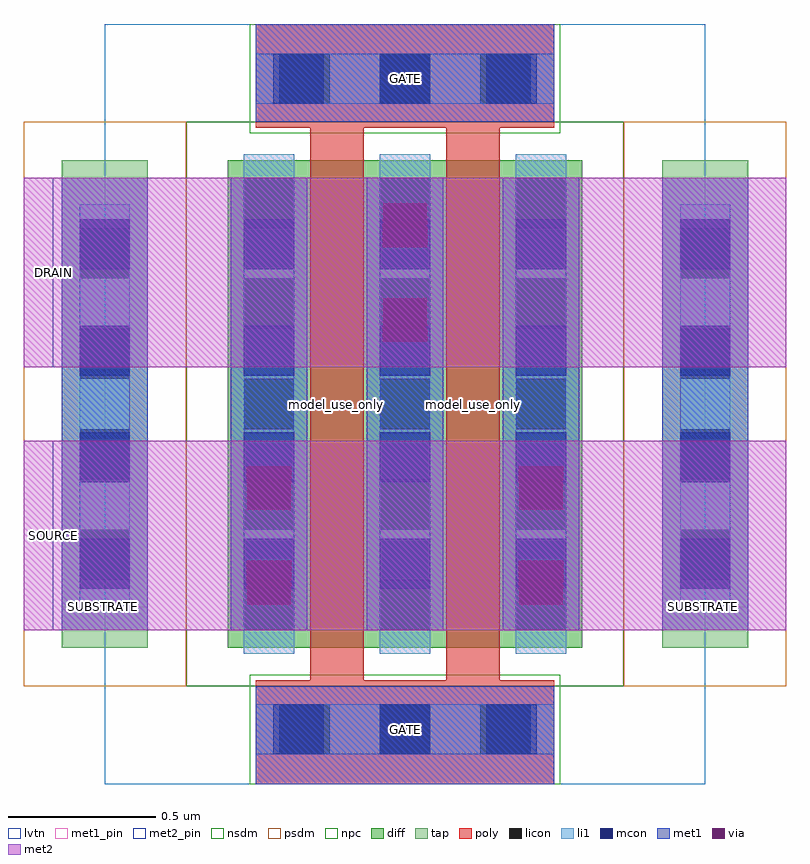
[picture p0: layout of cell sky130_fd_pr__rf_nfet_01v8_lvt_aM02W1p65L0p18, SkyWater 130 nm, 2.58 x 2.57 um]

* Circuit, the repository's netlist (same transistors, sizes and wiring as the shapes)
* Copyright 2020 The SkyWater PDK Authors
*
* Licensed under the Apache License, Version 2.0 (the "License");
* you may not use this file except in compliance with the License.
* You may obtain a copy of the License at
*
*     https://www.apache.org/licenses/LICENSE-2.0
*
* Unless required by applicable law or agreed to in writing, software
* distributed under the License is distributed on an "AS IS" BASIS,
* WITHOUT WARRANTIES OR CONDITIONS OF ANY KIND, either express or implied.
* See the License for the specific language governing permissions and
* limitations under the License.
*
* SPDX-License-Identifier: Apache-2.0


.subckt sky130_fd_pr__rf_nfet_01v8_lvt_aM02W1p65L0p18 DRAIN GATE SOURCE SUBSTRATE
X0 DRAIN GATE SOURCE SUBSTRATE sky130_fd_pr__nfet_01v8_lvt w=1.65e+06u l=180000u
X1 SOURCE GATE DRAIN SUBSTRATE sky130_fd_pr__nfet_01v8_lvt w=1.65e+06u l=180000u
.ends

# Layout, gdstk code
import gdstk
lib = gdstk.Library(unit=1e-6, precision=1e-09)
def R(c, l, rs):  # rectangles x0, y0, x1, y1
    for r in rs: c.add(gdstk.rectangle(r[:2], r[2:], *l))
def A(c, l, x, y, w, h, nx, ny, dx, dy):  # array of equal rectangles
    R(c, l, [(x+i*dx, y+j*dy, x+i*dx+w, y+j*dy+h) for i in range(nx) for j in range(ny)])
diff = (65, 20)
tap = (65, 44)
poly = (66, 20)
licon = (66, 44)
li1 = (67, 20)
mcon = (67, 44)
met1_pin = (68, 16)
met1 = (68, 20)
via = (68, 44)
met2_pin = (69, 16)
met2 = (69, 20)
nsdm = (93, 44)
psdm = (94, 20)
npc = (95, 20)
lvtn = (125, 44)

sky130_fd_pr__rf_nfet_01 = lib.new_cell('sky130_fd_pr__rf_nfet_01v8_lvt_aM02W1p65L0p18')
R(sky130_fd_pr__rf_nfet_01, diff, [(0.74,0.51,1.94,2.16)])
R(sky130_fd_pr__rf_nfet_01, tap, [(0.18,0.51,0.47,2.16), (2.21,0.51,2.5,2.16)])
R(sky130_fd_pr__rf_nfet_01, poly, [(0.835,0.05,1.845,0.4), (1.02,0.4,1.2,2.27), (1.48,0.4,1.66,2.27), (0.835,2.27,1.845,2.62)])
A(sky130_fd_pr__rf_nfet_01, licon, 0.915, 0.15, 0.17, 0.17, 3, 2, 0.34, 2.2)
A(sky130_fd_pr__rf_nfet_01, licon, 0.795, 0.57, 0.17, 0.17, 3, 5, 0.46, 0.34)
A(sky130_fd_pr__rf_nfet_01, licon, 0.24, 0.74, 0.17, 0.17, 1, 4, 0, 0.34)
A(sky130_fd_pr__rf_nfet_01, licon, 2.27, 0.74, 0.17, 0.17, 1, 4, 0, 0.34)
A(sky130_fd_pr__rf_nfet_01, li1, 0.795, 0.49, 0.17, 1.69, 3, 1, 0.46, 0)
R(sky130_fd_pr__rf_nfet_01, li1, [(0.835,0.15,1.845,0.32), (0.895,0.15,1.785,0.32), (0.24,0.66,0.41,2.01), (2.27,0.66,2.44,2.01), (0.835,2.35,1.845,2.52), (0.895,2.35,1.785,2.52)])
A(sky130_fd_pr__rf_nfet_01, mcon, 0.895, 0.15, 0.17, 0.17, 3, 2, 0.36, 2.2)
A(sky130_fd_pr__rf_nfet_01, mcon, 0.24, 0.71, 0.17, 0.17, 1, 4, 0, 0.36)
A(sky130_fd_pr__rf_nfet_01, mcon, 0.795, 0.71, 0.17, 0.17, 3, 4, 0.46, 0.36)
A(sky130_fd_pr__rf_nfet_01, mcon, 2.27, 0.71, 0.17, 0.17, 1, 4, 0, 0.36)
R(sky130_fd_pr__rf_nfet_01, met1_pin, [(0.835,0.05,1.845,0.38), (0.18,0.57,0.47,0.65), (2.21,0.57,2.5,0.65), (0.835,2.29,1.845,2.62)])
A(sky130_fd_pr__rf_nfet_01, met1, 0.75, 0.57, 0.26, 1.53, 3, 1, 0.46, 0)
R(sky130_fd_pr__rf_nfet_01, met1, [(0.835,0.05,1.845,0.38), (0.18,0.57,0.47,2.1), (2.21,0.57,2.5,2.1), (0.835,2.29,1.845,2.62)])
R(sky130_fd_pr__rf_nfet_01, via, [(0.805,0.655,0.955,0.805), (1.725,0.655,1.875,0.805), (0.805,0.975,0.955,1.125), (1.725,0.975,1.875,1.125), (1.265,1.545,1.415,1.695), (1.265,1.865,1.415,2.015)])
R(sky130_fd_pr__rf_nfet_01, met2_pin, [(0.05,0.57,0.15,1.21), (0.05,1.46,0.15,2.1)])
R(sky130_fd_pr__rf_nfet_01, met2, [(0.05,0.57,2.63,1.21), (0.05,1.46,2.63,2.1)])
R(sky130_fd_pr__rf_nfet_01, nsdm, [(0.6,0.38,2.08,2.29)])
R(sky130_fd_pr__rf_nfet_01, psdm, [(0.05,0.38,0.6,2.29), (2.08,0.38,2.63,2.29)])
R(sky130_fd_pr__rf_nfet_01, npc, [(0.815,0.05,1.865,0.42), (0.815,2.25,1.865,2.62)])
R(sky130_fd_pr__rf_nfet_01, lvtn, [(0.325,0.05,2.355,2.62)])
sky130_fd_pr__rf_nfet_01.add(gdstk.Label('model_use_only', (1.57,1.335), layer=66, texttype=83))
sky130_fd_pr__rf_nfet_01.add(gdstk.Label('model_use_only', (1.11,1.335), layer=66, texttype=83))
sky130_fd_pr__rf_nfet_01.add(gdstk.Label('SOURCE', (0.15,0.89), layer=69, texttype=5))
sky130_fd_pr__rf_nfet_01.add(gdstk.Label('DRAIN', (0.15,1.78), layer=69, texttype=5))
sky130_fd_pr__rf_nfet_01.add(gdstk.Label('SUBSTRATE', (0.32,0.65), layer=68, texttype=5))
sky130_fd_pr__rf_nfet_01.add(gdstk.Label('SUBSTRATE', (2.35,0.65), layer=68, texttype=5))
sky130_fd_pr__rf_nfet_01.add(gdstk.Label('GATE', (1.34,0.235), layer=68, texttype=5))
sky130_fd_pr__rf_nfet_01.add(gdstk.Label('GATE', (1.34,2.435), layer=68, texttype=5))

lib.write_gds('sky130_fd_pr__rf_nfet_01v8_lvt_aM02W1p65L0p18.gds')
